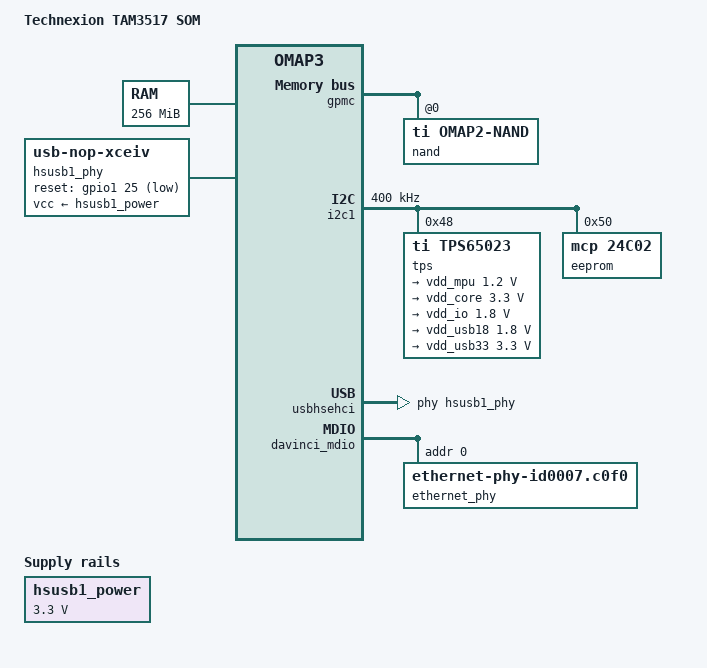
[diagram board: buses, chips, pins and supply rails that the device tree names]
#include "am3517.dtsi"

/ {
	model = "Technexion TAM3517 SOM";
	compatible = "ti,tam3517", "ti,am3517", "ti,omap3";

	cpus {
		cpu@0 {
			cpu0-supply = <&vdd_mpu>;
			operating-points = <
				/* kHz    uV */
				125000  1200000
				250000  1200000
				500000  1200000
				550000  1200000
				600000  1200000
			>;
		};
	};

	memory@80000000 {
		device_type = "memory";
		reg = <0x80000000 0x10000000>; /* 256 MB */
	};

	hsusb1_power: hsusb1_power_reg {
		compatible = "regulator-fixed";
		regulator-name = "hsusb1_vbus";
		regulator-min-microvolt = <3300000>;
		regulator-max-microvolt = <3300000>;
		regulator-always-on;
	};

	/*
	 * http://www.ti.com/lit/er/sprz306e/sprz306e.pdf page 42
	 *
	 * HSUSB Interoperability Issue with SMSC USB3320 PHY
	 * Revision(s) Affected 1.1 and earlier
	 * Details
	 *   After suspend sequence, USB3320 USB PHY goes correctly in
	 *   low-power mode:
	 *    - DP Line goes High and DM line remains Low (J state)

	 *    - Rbias Voltage = 0 V Whereas OMAP HOST controller exit
	 *      from suspend mode (while it is expected to keep in
	 *      low power mode). OMAP Host state (exited from low
	 *      power mode) is inconsistent with PHY state (low power
	 *      mode) resulting in a lockup situation.
	 *   Resuming the port has no effect as HOST controller has
	 *   already exited from low-power mode.
	 * Root cause:
	 *   Delay in assertion of DIR causes USBHOST ULPI interface
	 *   to exit ULPI Low Power mode. USB3320 USB PHY assert DIR
	 *   signal 3 clock cycle after STP signal is de-asserted.
	 * Workaround(s)
	 *   There is no workaround
	 *
	 * The tam3517 has a SMSC USB3320 PHY connected, to make it
	 * work usbcore.autosuspend=-1 is needed as linux boot args
	 */
	hsusb1_phy: hsusb1_phy {
		compatible = "usb-nop-xceiv";
		pinctrl-names = "default";
		pinctrl-0 = <&hsusb1_phy_pins>;
		reset-gpios = <&gpio1 25 GPIO_ACTIVE_LOW>;
		vcc-supply = <&hsusb1_power>;
		#phy-cells = <0>;
	};
};

&omap3_pmx_core {
	gpmc_pins: gpmc_pins {
		pinctrl-single,pins = <
			/* gpmc_ncs0 not configurable according to the TRM */
			OMAP3_CORE1_IOPAD(0x208e, PIN_INPUT | MUX_MODE0)	/* gpmc_d0.gpmc_d0 */
			OMAP3_CORE1_IOPAD(0x2090, PIN_INPUT | MUX_MODE0)	/* gpmc_d0.gpmc_d1 */
			OMAP3_CORE1_IOPAD(0x2092, PIN_INPUT | MUX_MODE0)	/* gpmc_d0.gpmc_d2 */
			OMAP3_CORE1_IOPAD(0x2094, PIN_INPUT | MUX_MODE0)	/* gpmc_d0.gpmc_d3 */
			OMAP3_CORE1_IOPAD(0x2096, PIN_INPUT | MUX_MODE0)	/* gpmc_d0.gpmc_d4 */
			OMAP3_CORE1_IOPAD(0x2098, PIN_INPUT | MUX_MODE0)	/* gpmc_d0.gpmc_d5 */
			OMAP3_CORE1_IOPAD(0x209a, PIN_INPUT | MUX_MODE0)	/* gpmc_d0.gpmc_d6 */
			OMAP3_CORE1_IOPAD(0x209c, PIN_INPUT | MUX_MODE0)	/* gpmc_d0.gpmc_d7 */
			OMAP3_CORE1_IOPAD(0x209e, PIN_INPUT | MUX_MODE0)	/* gpmc_d8.gpmc_d8 */
			OMAP3_CORE1_IOPAD(0x20a0, PIN_INPUT | MUX_MODE0)	/* gpmc_d9.gpmc_d9 */
			OMAP3_CORE1_IOPAD(0x20a2, PIN_INPUT | MUX_MODE0)	/* gpmc_d10.gpmc_d10 */
			OMAP3_CORE1_IOPAD(0x20a4, PIN_INPUT | MUX_MODE0)	/* gpmc_d11.gpmc_d11 */
			OMAP3_CORE1_IOPAD(0x20a6, PIN_INPUT | MUX_MODE0)	/* gpmc_d12.gpmc_d12 */
			OMAP3_CORE1_IOPAD(0x20a8, PIN_INPUT | MUX_MODE0)	/* gpmc_d13.gpmc_d13 */
			OMAP3_CORE1_IOPAD(0x20aa, PIN_INPUT | MUX_MODE0)	/* gpmc_d14.gpmc_d14 */
			OMAP3_CORE1_IOPAD(0x20ac, PIN_INPUT | MUX_MODE0)	/* gpmc_d15.gpmc_d15 */
		>;
	};

	i2c1_pins: i2c1_pins {
		pinctrl-single,pins = <
			OMAP3_CORE1_IOPAD(0x21ba, PIN_INPUT | MUX_MODE0)	/* i2c1_scl */
			OMAP3_CORE1_IOPAD(0x21bc, PIN_INPUT | MUX_MODE0)	/* i2c1_sda */
		>;
	};
};

&omap3_pmx_core2 {
	hsusb1_pins: hsusb1_pins {
		pinctrl-single,pins = <
			OMAP3430_CORE2_IOPAD(0x25d8, PIN_OUTPUT | MUX_MODE3)		/* etk_clk.hsusb1_stp */
			OMAP3430_CORE2_IOPAD(0x25da, PIN_OUTPUT | MUX_MODE3)		/* etk_ctl.hsusb1_clk */
			OMAP3430_CORE2_IOPAD(0x25dc, PIN_INPUT_PULLUP | MUX_MODE3)	/* etk_d0.hsusb1_data0 */
			OMAP3430_CORE2_IOPAD(0x25de, PIN_INPUT_PULLUP | MUX_MODE3)	/* etk_d1.hsusb1_data1 */
			OMAP3430_CORE2_IOPAD(0x25e0, PIN_INPUT_PULLUP | MUX_MODE3)	/* etk_d2.hsusb1_data2 */
			OMAP3430_CORE2_IOPAD(0x25e2, PIN_INPUT_PULLUP | MUX_MODE3)	/* etk_d3.hsusb1_data7 */
			OMAP3430_CORE2_IOPAD(0x25e4, PIN_INPUT_PULLUP | MUX_MODE3)	/* etk_d4.hsusb1_data4 */
			OMAP3430_CORE2_IOPAD(0x25e6, PIN_INPUT_PULLUP | MUX_MODE3)	/* etk_d5.hsusb1_data5 */
			OMAP3430_CORE2_IOPAD(0x25e8, PIN_INPUT_PULLUP | MUX_MODE3)	/* etk_d6.hsusb1_data6 */
			OMAP3430_CORE2_IOPAD(0x25ea, PIN_INPUT_PULLUP | MUX_MODE3)	/* etk_d7.hsusb1_data3 */
			OMAP3430_CORE2_IOPAD(0x25ec, PIN_INPUT_PULLDOWN | MUX_MODE3)	/* etk_d8.hsusb1_dir */
			OMAP3430_CORE2_IOPAD(0x25ee, PIN_INPUT_PULLDOWN | MUX_MODE3)	/* etk_d9.hsusb1_nxt */
		>;
	};

	hsusb1_phy_pins: hsusb1_phy_pins {
		pinctrl-single,pins = <
			OMAP3430_CORE2_IOPAD(0x25f2, PIN_OUTPUT | MUX_MODE4)	/* etk_d11.gpio_25 */
		>;
	};
};

&gpmc {
	pinctrl-names = "default";
	pinctrl-0 = <&gpmc_pins>;
	ranges = <0 0 0x08000000 0x10000000>;	/* CS0: NAND */
	status = "okay";

	nand: flash@0,0 {
		compatible = "ti,omap2-nand";
		reg = <0 0 4>; /* CS0, offset 0 */
		nand-bus-width = <16>;
		ti,nand-ecc-opt = "sw";
		gpmc,device-width = <2>;
		gpmc,sync-clk-ps = <0>;
		gpmc,cs-on-ns = <0>;
		gpmc,cs-rd-off-ns = <36>;
		gpmc,cs-wr-off-ns = <36>;
		gpmc,adv-on-ns = <6>;
		gpmc,adv-rd-off-ns = <24>;
		gpmc,adv-wr-off-ns = <36>;
		gpmc,we-on-ns = <0>;
		gpmc,we-off-ns = <30>;
		gpmc,oe-on-ns = <0>;
		gpmc,oe-off-ns = <48>;
		gpmc,access-ns = <54>;
		gpmc,rd-cycle-ns = <72>;
		gpmc,wr-cycle-ns = <72>;
		gpmc,wait-on-read;
		gpmc,wait-on-write;
		gpmc,bus-turnaround-ns = <0>;
		gpmc,cycle2cycle-delay-ns = <0>;
		gpmc,clk-activation-ns = <0>;
		gpmc,wait-monitoring-ns = <0>;
		gpmc,wr-access-ns = <30>;
		gpmc,wr-data-mux-bus-ns = <0>;
	};
};

&i2c1 {
	pinctrl-names = "default";
	pinctrl-0 = <&i2c1_pins>;
	clock-frequency = <400000>;
	status = "okay";

	tps: tps@48 {
		compatible = "ti,tps65023";
		reg = <0x48>;
	};

	eeprom@50 {
		compatible = "mcp,24c02";
		reg = <0x50>;
		pagesize = <8>;
	};
};


&tps {
	regulators {
		vdd_mpu: VDCDC1 {
			regulator-name = "vdd_mpu";
			regulator-min-microvolt = <1200000>;
			regulator-max-microvolt = <1200000>;
			regulator-always-on;
		};

		VDCDC2 {
			regulator-name = "vdd_core";
			regulator-min-microvolt = <3300000>;
			regulator-max-microvolt = <3300000>;
			regulator-always-on;
		};

		VDCDC3 {
			regulator-name = "vdd_io";
			regulator-min-microvolt = <1800000>;
			regulator-max-microvolt = <1800000>;
			regulator-always-on;
		};

		LDO1 {
			regulator-name = "vdd_usb18";
			regulator-min-microvolt = <1800000>;
			regulator-max-microvolt = <1800000>;
			regulator-always-on;

		};

		LDO2 {
			regulator-name = "vdd_usb33";
			regulator-min-microvolt = <3300000>;
			regulator-max-microvolt = <3300000>;
			regulator-always-on;
		};
	};
};

&mcspi1 {
	status = "disabled";
};

&mcspi2 {
	status = "disabled";
};

&mcspi3 {
	status = "disabled";
};

/*
 * http://www.ti.com/lit/er/sprz306e/sprz306e.pdf page 42
 *
 * Advisory 1.1.29 HS USB: ECHI and OHCI Controllers Cannot Work Concurrently
 * Revision(s) Affected 1.1 and earlier
 * Details
 *   An issue in the USBHOST memory access arbiter prevents EHCI and OHCI Host
 *   Controllers from working simultaneously. As a result one cannot connect a
 *   HS and a FS USB devices on the USBHOST.
 * Workaround(s)
 *   No workaround existsfor the generic use-case.
 *   For low-throughput requirement a SW arbitration scheme can be implemented.
 */
&usbhshost {
	port1-mode = "ehci-phy";
};

&usbhsehci {
	pinctrl-names = "default";
	pinctrl-0 = <&hsusb1_pins>;
	phys = <&hsusb1_phy>;
};

&davinci_mdio {
	ethernet_phy: ethernet-phy@0 {
		compatible = "ethernet-phy-id0007.c0f0",
			     "ethernet-phy-ieee802.3-c22";
		reg = <0>;
	};
};
